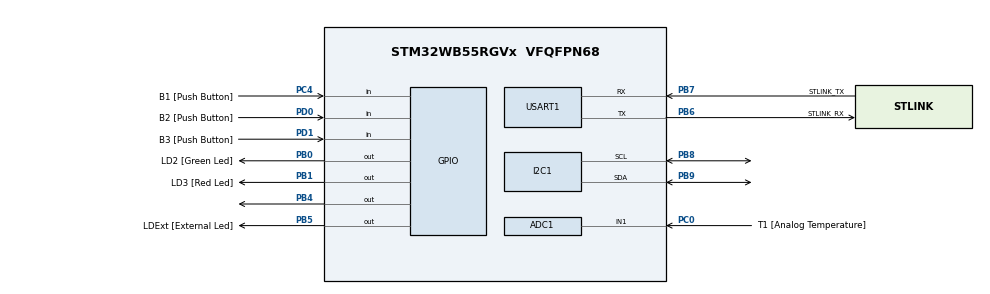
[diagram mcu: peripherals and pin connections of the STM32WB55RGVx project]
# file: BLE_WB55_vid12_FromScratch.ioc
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ADC1.Channel-0\#ChannelRegularConversion=ADC_CHANNEL_1
ADC1.NbrOfConversionFlag=1
ADC1.OffsetNumber-0\#ChannelRegularConversion=ADC_OFFSET_NONE
ADC1.Rank-0\#ChannelRegularConversion=1
ADC1.SamplingTime-0\#ChannelRegularConversion=ADC_SAMPLETIME_2CYCLES_5
ADC1.master=1
I2C1.Timing=0x00303D5B
Mcu.Family=STM32WB
Mcu.Name=STM32WB55RGVx
Mcu.Package=VFQFPN68
NVIC.HSEM_IRQn=true\:0\:0\:false\:false\:true\:false\:true\:true
NVIC.IPCC_C1_RX_IRQn=true\:0\:0\:false\:false\:true\:true\:true\:true
NVIC.IPCC_C1_TX_IRQn=true\:0\:0\:false\:false\:true\:true\:true\:true
NVIC.PriorityGroup=NVIC_PRIORITYGROUP_4
NVIC.RTC_WKUP_IRQn=true\:0\:0\:false\:false\:true\:true\:true\:true
OSC_IN.Mode=HSE-External-Oscillator
OSC_IN.Signal=RCC_OSC_IN
OSC_OUT.Mode=HSE-External-Oscillator
OSC_OUT.Signal=RCC_OSC_OUT
PA11.Signal=USB_DM
PA12.Signal=USB_DP
PA13.GPIO_Label=JTMS
PA13.Signal=SYS_JTMS-SWDIO
PA14.GPIO_Label=JTCK
PA14.Signal=SYS_JTCK-SWCLK
PB0.GPIO_Label=LD2 [Green Led]
PB0.Signal=GPIO_Output
PB1.GPIO_Label=LD3 [Red Led]
PB1.Signal=GPIO_Output
PB3.GPIO_Label=JTDO
PB3.Signal=SYS_JTDO-SWO
PB4.Signal=GPIO_Output
PB5.GPIO_Label=LDExt [External Led]
PB5.GPIO_PuPd=GPIO_PULLDOWN
PB5.Signal=GPIO_Output
PB6.GPIO_Label=STLINK_RX
PB6.Mode=Asynchronous
PB6.Signal=USART1_TX
PB7.GPIO_Label=STLINK_TX
PB7.Mode=Asynchronous
PB7.Signal=USART1_RX
PB8.GPIO_Pu=GPIO_PULLUP
PB8.GPIO_Speed=GPIO_SPEED_FREQ_HIGH
PB8.Mode=I2C
PB8.Signal=I2C1_SCL
PB9.GPIO_Pu=GPIO_PULLUP
PB9.GPIO_Speed=GPIO_SPEED_FREQ_HIGH
PB9.Mode=I2C
PB9.Signal=I2C1_SDA
PC0.GPIO_Label=T1 [Analog Temperature]
PC0.GPIO_PuPd=GPIO_NOPULL
PC0.Signal=ADCx_IN1
PC13.Signal=SYS_WKUP2
PC14-OSC32_IN.Mode=LSE-External-Oscillator
PC14-OSC32_IN.Signal=RCC_OSC32_IN
PC15-OSC32_OUT.Mode=LSE-External-Oscillator
PC15-OSC32_OUT.Signal=RCC_OSC32_OUT
PC4.GPIO_Label=B1 [Push Button]
PC4.GPIO_PuPd=GPIO_PULLUP
PC4.Signal=GPIO_Input
PD0.GPIO_Label=B2 [Push Button]
PD0.Signal=GPIO_Input
PD1.GPIO_Label=B3 [Push Button]
PD1.Signal=GPIO_Input
ProjectManager.HeapSize=0x200
ProjectManager.StackSize=0x400
ProjectManager.TargetToolchain=STM32CubeIDE
RCC.ADCCLockSelection=RCC_ADCCLKSOURCE_SYSCLK
RCC.ADCFreq_Value=32000000
RCC.AHBCLKDivider=RCC_SYSCLK_DIV2
RCC.AHBFreq_Value=16000000
RCC.APB1Freq_Value=16000000
RCC.APB1TimFreq_Value=16000000
RCC.APB2Freq_Value=16000000
RCC.APB2TimFreq_Value=16000000
RCC.APB3Freq_Value=16000000
RCC.CortexFreq_Value=16000000
RCC.HCLKFreq_Value=16000000
RCC.HSE_VALUE=32000000
RCC.HSI48_VALUE=48000000
RCC.HSI_VALUE=16000000
RCC.MSIClockRange=RCC_MSIRANGE_10
RCC.PLLSourceVirtual=RCC_PLLSOURCE_HSI
RCC.RFWKPClockSelection=RCC_RFWKPCLKSOURCE_LSE
RCC.RTCClockSelection=RCC_RTCCLKSOURCE_LSE
RCC.SMPSCLockSelectionVirtual=RCC_SMPSCLKSOURCE_HSI
RCC.SMPSCLockSelectionVirtualVirtual=RCC_SMPSCLKSOURCE_HSI
RCC.SMPSDivider=1
RCC.SYSCLKFreq_VALUE=32000000
RCC.USBFreq_Value=64000000
RCC.VCOOutputFreq_Value=128000000
RF1.Mode=RF1_Activate
RF1.Signal=RF_RF1
SH.ADCx_IN1.0=ADC1_IN1,IN1-Single-Ended
STM32_WPAN.AD_TYPE_COMPLETE_LOCAL_NAME=Demo22
STM32_WPAN.AD_TYPE_COMPLETE_LOCAL_NAME_LENGTH=7
STM32_WPAN.CUSTOM_P2P_SERVER=Disabled
STM32_WPAN.CUSTOM_TEMPLATE=Enabled
STM32_WPAN.INCLUDE_AD_TYPE_COMPLETE_LOCAL_NAME=1
STM32_WPAN.NUMBER_OF_SERVICES=1
STM32_WPAN.SERVICE1_CHAR1_GATT_NOTIFY_READ_REQ_AND_WAIT_FOR_APPL_RESP=\ 
STM32_WPAN.SERVICE1_CHAR1_GATT_NOTIFY_WRITE_REQ_AND_WAIT_FOR_APPL_RESP=\ 
STM32_WPAN.SERVICE1_CHAR1_LONG_NAME=myCharWrite
STM32_WPAN.SERVICE1_CHAR1_PROP_WRITE=CHAR_PROP_WRITE
STM32_WPAN.SERVICE1_CHAR1_SHORT_NAME=myCharWrite
STM32_WPAN.SERVICE1_CHAR2_LONG_NAME=myCharNotify
STM32_WPAN.SERVICE1_CHAR2_PROP_NOTIFY=CHAR_PROP_NOTIFY
STM32_WPAN.SERVICE1_CHAR2_SHORT_NAME=myCharNotify
STM32_WPAN.SERVICE1_CHAR2_UUID=00 01
STM32_WPAN.SERVICE1_LONG_NAME=LED_SVC
STM32_WPAN.SERVICE1_NUMBER_OF_CHARACTERISTICS=2
STM32_WPAN.SERVICE1_SHORT_NAME=LED_SVC
USART1.VirtualMode-Asynchronous=VM_ASYNC
VP_ADC1_Vref_Input.Mode=IN-Vrefint
VP_HSEM_VS_HSEM.Mode=HSEM_Activate
VP_IPCC_VS_IPCC.Mode=IPCC_Activate
VP_RTC_VS_RTC_Activate.Mode=RTC_Enabled
VP_RTC_VS_RTC_WakeUp_intern.Mode=WakeUp
VP_SEQUENCER_VS_SEQUENCER.Mode=SEQUENCER_Enabled
VP_STM32_WPAN_VS_BLE_HOST.Mode=STM32_WPAN_Enabled
VP_TINY_LPM_VS_TINY_LPM.Mode=TINY_LPM_Enabled
board=P-NUCLEO-WB55-NUCLEO

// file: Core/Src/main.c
/* USER CODE BEGIN Header */
/**
  ******************************************************************************
  * @file           : main.c
  * @brief          : Main program body
  ******************************************************************************
  * @attention
  *
  * Copyright (c) 2022 STMicroelectronics.
  * All rights reserved.
  *
  * This software is licensed under terms that can be found in the LICENSE file
  * in the root directory of this software component.
  * If no LICENSE file comes with this software, it is provided AS-IS.
  *
  ******************************************************************************
  */
/* USER CODE END Header */
#include "main.h"

/* USER CODE BEGIN Includes */
#include "ssd1306.h"
#include "ssd1306_tests.h"
#include <stdbool.h>
#include <BitmapLibrary.h>
#include "OLED.h"
#include "STLM20W87F_TempSense.h"

/* USER CODE END Includes */

ADC_HandleTypeDef hadc1;

I2C_HandleTypeDef hi2c1;

IPCC_HandleTypeDef hipcc;

RTC_HandleTypeDef hrtc;

UART_HandleTypeDef huart1;

/* USER CODE BEGIN PV */

	//Make huart1 available elsewhere
	//extern UART_HandleTypeDef UartHandle;

/* USER CODE END PV */

void SystemClock_Config(void);
void PeriphCommonClock_Config(void);
static void MX_GPIO_Init(void);
static void MX_IPCC_Init(void);
static void MX_RF_Init(void);
static void MX_RTC_Init(void);
static void MX_USART1_UART_Init(void);
static void MX_I2C1_Init(void);
static void MX_ADC1_Init(void);

/* USER CODE BEGIN 0 */
/******************************************************************************************************
* @fn					- drawLogo
* @brief				- Display startup graphics on OLED display
* @param[in]			- void
* @return				- void
*
* @note					- PB8 (Clock) is CN5-10 (D15)
* 						- PB9 (Data) is CN5-9 (D14)
* 						- Power is +3.3V
* 						- Remember to init ssd1306_Init();
* 						- I2C Config - Pull-up, Max output speed = HIGH
* 						- I2C Clock: PCLK1
******************************************************************************************************/

void drawLogo() {

	drawBitmap(7, 20, (uint8_t *)JaktoolLogoBMP, JaktoolLogoWidth, JaktoolLogoHeight, White, Black);
	HAL_Delay(150);

}

/* USER CODE END 0 */

int main(void)
{
  /* USER CODE BEGIN 1 */

	//UART Message Buffer:
	char MSG[35] = {'\0'};

	// Temp Sensor Buffer:
	float ADC_TEMP_F = 0.0;

  /* USER CODE END 1 */

  /* MCU Configuration--------------------------------------------------------*/

  /* Reset of all peripherals, Initializes the Flash interface and the Systick. */
  HAL_Init();
  /* Config code for STM32_WPAN (HSE Tuning must be done before system clock configuration) */
  MX_APPE_Config();

  /* Configure the system clock */
  SystemClock_Config();

/* Configure the peripherals common clocks */
  PeriphCommonClock_Config();

  /* IPCC initialisation */
   MX_IPCC_Init();

  /* Initialize all configured peripherals */
  MX_GPIO_Init();
  MX_RF_Init();
  MX_RTC_Init();
  MX_USART1_UART_Init();
  MX_I2C1_Init();
  MX_ADC1_Init();
  /* USER CODE BEGIN 2 */

  // Initialize OLED
  ssd1306_Init();

  /* USER CODE END 2 */

  /* Init code for STM32_WPAN */
  MX_APPE_Init();

  /* Infinite loop */
  /* USER CODE BEGIN WHILE */

  //Output to Display
  drawLogo();
  HAL_Delay(150);

  //Output to UART and Display
  sprintf(MSG, "Initializing... \r\n");
  UART_Transmit((uint8_t*)MSG, strlen(MSG));
  clearScreen(Black);
  OLED_Transmit_Line1((uint8_t*)MSG);

  //Read ADC, print to 2 decimal places
	ADC_TEMP_F = Get_ADC_Temp();
	sprintf(MSG, "Temp: %0.2f deg F\r\n", ADC_TEMP_F);
	UART_Transmit((uint8_t*)MSG, strlen(MSG));
	OLED_Transmit_Line2((uint8_t*)MSG);

  while (1)
  {

    /* USER CODE END WHILE */
    MX_APPE_Process();

  }
}

void SystemClock_Config(void)
{
  RCC_OscInitTypeDef RCC_OscInitStruct = {0};
  RCC_ClkInitTypeDef RCC_ClkInitStruct = {0};

  /** Configure LSE Drive Capability
  */
  HAL_PWR_EnableBkUpAccess();
  __HAL_RCC_LSEDRIVE_CONFIG(RCC_LSEDRIVE_LOW);

  /** Configure the main internal regulator output voltage
  */
  __HAL_PWR_VOLTAGESCALING_CONFIG(PWR_REGULATOR_VOLTAGE_SCALE1);

  /** Initializes the RCC Oscillators according to the specified parameters
  * in the RCC_OscInitTypeDef structure.
  */
  RCC_OscInitStruct.OscillatorType = RCC_OSCILLATORTYPE_HSI|RCC_OSCILLATORTYPE_HSE
                              |RCC_OSCILLATORTYPE_LSE|RCC_OSCILLATORTYPE_MSI;
  RCC_OscInitStruct.HSEState = RCC_HSE_ON;
  RCC_OscInitStruct.LSEState = RCC_LSE_ON;
  RCC_OscInitStruct.HSIState = RCC_HSI_ON;
  RCC_OscInitStruct.MSIState = RCC_MSI_ON;
  RCC_OscInitStruct.HSICalibrationValue = RCC_HSICALIBRATION_DEFAULT;
  RCC_OscInitStruct.MSICalibrationValue = RCC_MSICALIBRATION_DEFAULT;
  RCC_OscInitStruct.MSIClockRange = RCC_MSIRANGE_10;
  RCC_OscInitStruct.PLL.PLLState = RCC_PLL_NONE;
  if (HAL_RCC_OscConfig(&RCC_OscInitStruct) != HAL_OK)
  {
    Error_Handler();
  }

  /** Configure the SYSCLKSource, HCLK, PCLK1 and PCLK2 clocks dividers
  */
  RCC_ClkInitStruct.ClockType = RCC_CLOCKTYPE_HCLK4|RCC_CLOCKTYPE_HCLK2
                              |RCC_CLOCKTYPE_HCLK|RCC_CLOCKTYPE_SYSCLK
                              |RCC_CLOCKTYPE_PCLK1|RCC_CLOCKTYPE_PCLK2;
  RCC_ClkInitStruct.SYSCLKSource = RCC_SYSCLKSOURCE_MSI;
  RCC_ClkInitStruct.AHBCLKDivider = RCC_SYSCLK_DIV2;
  RCC_ClkInitStruct.APB1CLKDivider = RCC_HCLK_DIV1;
  RCC_ClkInitStruct.APB2CLKDivider = RCC_HCLK_DIV1;
  RCC_ClkInitStruct.AHBCLK2Divider = RCC_SYSCLK_DIV1;
  RCC_ClkInitStruct.AHBCLK4Divider = RCC_SYSCLK_DIV1;

  if (HAL_RCC_ClockConfig(&RCC_ClkInitStruct, FLASH_LATENCY_1) != HAL_OK)
  {
    Error_Handler();
  }
}

void PeriphCommonClock_Config(void)
{
  RCC_PeriphCLKInitTypeDef PeriphClkInitStruct = {0};

  /** Initializes the peripherals clock
  */
  PeriphClkInitStruct.PeriphClockSelection = RCC_PERIPHCLK_SMPS|RCC_PERIPHCLK_RFWAKEUP;
  PeriphClkInitStruct.RFWakeUpClockSelection = RCC_RFWKPCLKSOURCE_LSE;
  PeriphClkInitStruct.SmpsClockSelection = RCC_SMPSCLKSOURCE_HSI;
  PeriphClkInitStruct.SmpsDivSelection = RCC_SMPSCLKDIV_RANGE0;

  if (HAL_RCCEx_PeriphCLKConfig(&PeriphClkInitStruct) != HAL_OK)
  {
    Error_Handler();
  }
}

static void MX_ADC1_Init(void)
{

  ADC_ChannelConfTypeDef sConfig = {0};

  /** Common config
  */
  hadc1.Instance = ADC1;
  hadc1.Init.ClockPrescaler = ADC_CLOCK_ASYNC_DIV1;
  hadc1.Init.Resolution = ADC_RESOLUTION_12B;
  hadc1.Init.DataAlign = ADC_DATAALIGN_RIGHT;
  hadc1.Init.ScanConvMode = ADC_SCAN_DISABLE;
  hadc1.Init.EOCSelection = ADC_EOC_SINGLE_CONV;
  hadc1.Init.LowPowerAutoWait = DISABLE;
  hadc1.Init.ContinuousConvMode = DISABLE;
  hadc1.Init.NbrOfConversion = 1;
  hadc1.Init.DiscontinuousConvMode = DISABLE;
  hadc1.Init.ExternalTrigConv = ADC_SOFTWARE_START;
  hadc1.Init.ExternalTrigConvEdge = ADC_EXTERNALTRIGCONVEDGE_NONE;
  hadc1.Init.DMAContinuousRequests = DISABLE;
  hadc1.Init.Overrun = ADC_OVR_DATA_PRESERVED;
  hadc1.Init.OversamplingMode = DISABLE;
  if (HAL_ADC_Init(&hadc1) != HAL_OK)
  {
    Error_Handler();
  }

  /** Configure Regular Channel
  */
  sConfig.Channel = ADC_CHANNEL_1;
  sConfig.Rank = ADC_REGULAR_RANK_1;
  sConfig.SamplingTime = ADC_SAMPLETIME_2CYCLES_5;
  sConfig.SingleDiff = ADC_SINGLE_ENDED;
  sConfig.OffsetNumber = ADC_OFFSET_NONE;
  sConfig.Offset = 0;
  if (HAL_ADC_ConfigChannel(&hadc1, &sConfig) != HAL_OK)
  {
    Error_Handler();
  }

}

static void MX_I2C1_Init(void)
{

  hi2c1.Instance = I2C1;
  hi2c1.Init.Timing = 0x00303D5B;
  hi2c1.Init.OwnAddress1 = 0;
  hi2c1.Init.AddressingMode = I2C_ADDRESSINGMODE_7BIT;
  hi2c1.Init.DualAddressMode = I2C_DUALADDRESS_DISABLE;
  hi2c1.Init.OwnAddress2 = 0;
  hi2c1.Init.OwnAddress2Masks = I2C_OA2_NOMASK;
  hi2c1.Init.GeneralCallMode = I2C_GENERALCALL_DISABLE;
  hi2c1.Init.NoStretchMode = I2C_NOSTRETCH_DISABLE;
  if (HAL_I2C_Init(&hi2c1) != HAL_OK)
  {
    Error_Handler();
  }

  /** Configure Analogue filter
  */
  if (HAL_I2CEx_ConfigAnalogFilter(&hi2c1, I2C_ANALOGFILTER_ENABLE) != HAL_OK)
  {
    Error_Handler();
  }

  /** Configure Digital filter
  */
  if (HAL_I2CEx_ConfigDigitalFilter(&hi2c1, 0) != HAL_OK)
  {
    Error_Handler();
  }

}

static void MX_IPCC_Init(void)
{

  hipcc.Instance = IPCC;
  if (HAL_IPCC_Init(&hipcc) != HAL_OK)
  {
    Error_Handler();
  }

}

static void MX_RF_Init(void)
{

}

static void MX_RTC_Init(void)
{

  /** Initialize RTC Only
  */
  hrtc.Instance = RTC;
  hrtc.Init.HourFormat = RTC_HOURFORMAT_24;
  hrtc.Init.AsynchPrediv = CFG_RTC_ASYNCH_PRESCALER;
  hrtc.Init.SynchPrediv = CFG_RTC_SYNCH_PRESCALER;
  hrtc.Init.OutPut = RTC_OUTPUT_DISABLE;
  hrtc.Init.OutPutPolarity = RTC_OUTPUT_POLARITY_HIGH;
  hrtc.Init.OutPutType = RTC_OUTPUT_TYPE_OPENDRAIN;
  hrtc.Init.OutPutRemap = RTC_OUTPUT_REMAP_NONE;
  if (HAL_RTC_Init(&hrtc) != HAL_OK)
  {
    Error_Handler();
  }

  /** Enable the WakeUp
  */
  if (HAL_RTCEx_SetWakeUpTimer_IT(&hrtc, 0, RTC_WAKEUPCLOCK_RTCCLK_DIV16) != HAL_OK)
  {
    Error_Handler();
  }

}

static void MX_USART1_UART_Init(void)
{

  huart1.Instance = USART1;
  huart1.Init.BaudRate = 115200;
  huart1.Init.WordLength = UART_WORDLENGTH_8B;
  huart1.Init.StopBits = UART_STOPBITS_1;
  huart1.Init.Parity = UART_PARITY_NONE;
  huart1.Init.Mode = UART_MODE_TX_RX;
  huart1.Init.HwFlowCtl = UART_HWCONTROL_NONE;
  huart1.Init.OverSampling = UART_OVERSAMPLING_16;
  huart1.Init.OneBitSampling = UART_ONE_BIT_SAMPLE_DISABLE;
  huart1.Init.ClockPrescaler = UART_PRESCALER_DIV1;
  huart1.AdvancedInit.AdvFeatureInit = UART_ADVFEATURE_NO_INIT;
  if (HAL_UART_Init(&huart1) != HAL_OK)
  {
    Error_Handler();
  }
  if (HAL_UARTEx_SetTxFifoThreshold(&huart1, UART_TXFIFO_THRESHOLD_1_8) != HAL_OK)
  {
    Error_Handler();
  }
  if (HAL_UARTEx_SetRxFifoThreshold(&huart1, UART_RXFIFO_THRESHOLD_1_8) != HAL_OK)
  {
    Error_Handler();
  }
  if (HAL_UARTEx_DisableFifoMode(&huart1) != HAL_OK)
  {
    Error_Handler();
  }

}

static void MX_GPIO_Init(void)
{
  GPIO_InitTypeDef GPIO_InitStruct = {0};

  /* GPIO Ports Clock Enable */
  __HAL_RCC_GPIOC_CLK_ENABLE();
  __HAL_RCC_GPIOB_CLK_ENABLE();
  __HAL_RCC_GPIOA_CLK_ENABLE();
  __HAL_RCC_GPIOD_CLK_ENABLE();

  /*Configure GPIO pin Output Level */
  HAL_GPIO_WritePin(GPIOB, LD2_Pin|LD3_Pin|GPIO_PIN_4|LDExt_Pin, GPIO_PIN_RESET);

  /*Configure GPIO pin : B1_Pin */
  GPIO_InitStruct.Pin = B1_Pin;
  GPIO_InitStruct.Mode = GPIO_MODE_INPUT;
  GPIO_InitStruct.Pull = GPIO_PULLUP;
  HAL_GPIO_Init(B1_GPIO_Port, &GPIO_InitStruct);

  /*Configure GPIO pins : LD2_Pin LD3_Pin PB4 */
  GPIO_InitStruct.Pin = LD2_Pin|LD3_Pin|GPIO_PIN_4;
  GPIO_InitStruct.Mode = GPIO_MODE_OUTPUT_PP;
  GPIO_InitStruct.Pull = GPIO_NOPULL;
  GPIO_InitStruct.Speed = GPIO_SPEED_FREQ_LOW;
  HAL_GPIO_Init(GPIOB, &GPIO_InitStruct);

  /*Configure GPIO pins : PA11 PA12 */
  GPIO_InitStruct.Pin = GPIO_PIN_11|GPIO_PIN_12;
  GPIO_InitStruct.Mode = GPIO_MODE_AF_PP;
  GPIO_InitStruct.Pull = GPIO_NOPULL;
  GPIO_InitStruct.Speed = GPIO_SPEED_FREQ_LOW;
  GPIO_InitStruct.Alternate = GPIO_AF10_USB;
  HAL_GPIO_Init(GPIOA, &GPIO_InitStruct);

  /*Configure GPIO pins : B2_Pin B3_Pin */
  GPIO_InitStruct.Pin = B2_Pin|B3_Pin;
  GPIO_InitStruct.Mode = GPIO_MODE_INPUT;
  GPIO_InitStruct.Pull = GPIO_NOPULL;
  HAL_GPIO_Init(GPIOD, &GPIO_InitStruct);

  /*Configure GPIO pin : LDExt_Pin */
  GPIO_InitStruct.Pin = LDExt_Pin;
  GPIO_InitStruct.Mode = GPIO_MODE_OUTPUT_PP;
  GPIO_InitStruct.Pull = GPIO_PULLDOWN;
  GPIO_InitStruct.Speed = GPIO_SPEED_FREQ_LOW;
  HAL_GPIO_Init(LDExt_GPIO_Port, &GPIO_InitStruct);

}

/* USER CODE BEGIN 4 */

/******************************************************************************************************
* @fn					- UART_Transmit
* @brief				- Write to UART
* @param[in]			- data: Message : char MSG[35] = {'\0'};
* 						- size: sizeof Message : strlen(MSG)
* @return				- 0 if success, 1 if fail
*
* @note					- Simplifies Write to UART from anywhere that inherits main.h
******************************************************************************************************/
int UART_Transmit(uint8_t* data, uint16_t size){

	HAL_GPIO_WritePin(LDExt_GPIO_Port, LDExt_Pin, GPIO_PIN_SET);

	  HAL_StatusTypeDef status = HAL_UART_Transmit(&huart1, data, size, 0xffff);

    if (status != HAL_OK) {
        //while (1);
        return 0;
    }

    HAL_GPIO_WritePin(LDExt_GPIO_Port, LDExt_Pin, GPIO_PIN_RESET);
    return 1;
}

/******************************************************************************************************
* @fn					- OLED_Transmit_Line1
* @brief				- Write to OLED on Line 1
* @param[in]			- data: Message : char MSG[35] = {'\0'};
* @return				- void
*
* @note					- Simplifies Write to OLED from anywhere that inherits main.h
******************************************************************************************************/
void OLED_Transmit_Line1(uint8_t* data){

	writeSmFont(0, 2, White, data);

}

/******************************************************************************************************
* @fn					- OLED_Transmit_Line2
* @brief				- Write to OLED on Line 2
* @param[in]			- data: Message : char MSG[35] = {'\0'};
* @return				- void
*
* @note					- Simplifies Write to OLED from anywhere that inherits main.h
******************************************************************************************************/
void OLED_Transmit_Line2(uint8_t* data){

	writeSmFont(0, 26, White, data);

}

/******************************************************************************************************
* @fn					- OLED_Transmit_Line3
* @brief				- Write to OLED on Line 3
* @param[in]			- data: Message : char MSG[35] = {'\0'};
* @return				- void
*
* @note					- Simplifies Write to OLED from anywhere that inherits main.h
******************************************************************************************************/
void OLED_Transmit_Line3(uint8_t* data){

	writeSmFont(0, 50, White, data);

}

/* USER CODE END 4 */

void Error_Handler(void)
{
  __disable_irq();
  while (1)
  {
  }
}
